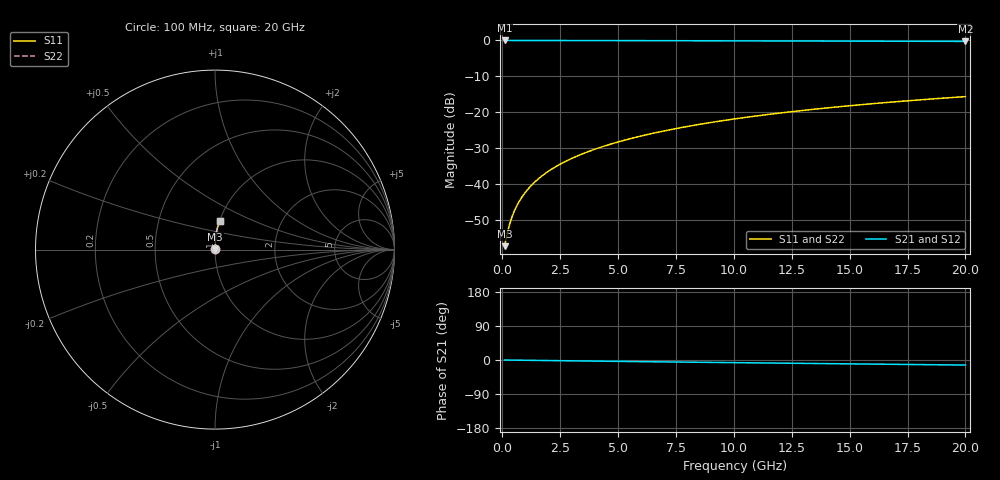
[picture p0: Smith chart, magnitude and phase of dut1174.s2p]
! Touchstone file exported from HFSS 2024.1.0
!  File:  C:/UserFiles/LocalFiles/RDL_TSV_Batchsim/temp_RDL_top_1174_1780049006.aedt
!  Generated:  06:05:35 PM May 29, 2026
!  Design:  RDL_top
!  Project:  temp_RDL_top_1174_1780049006
!  Setup:  Setup1
!  Solution:  Sweep
! Variables:
!  dtsv = 10.80580581um
!  hbump = 3um
!  htsv = 68.03um
!  ldown = 100um
!  lrdl = 137.05um
!  p = 40
!  p1 = 53.6um
!  rhole = 1um
!  t = 450um
!  tdown = 3.915915916um
!  trdl = 2.85um
!  wdown = 15.38538539um
!  wrdl = 21.03um
# GHz S MA R 50.000000
! Terminal data exported
! Port[1] = Box2_T1
! Port[2] = Box2_T2
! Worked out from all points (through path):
!   200 points, 100 MHz to 20 GHz, reference 50 ohm
!   highest |S21| = -0.01 dB at 100 MHz (marker M1); lowest = -0.3 dB at 20 GHz (marker M2)
!   group delay of S21, straight-line fit = 1.84 ps
!   lowest |S11| = -57.4 dB at 100 MHz (marker M3), VSWR 1.00, Z = 50.1 + j0.0797 ohm
!   |S11| at or under -10 dB: start of sweep to end of sweep
!   |S22| runs from -57.4 to -15.7 dB; largest |S21 - S12| = 3.4e-15
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0.1  0.00135 36.1  0.9989 -0.1  0.9989 -0.1  0.00135 36.1
! Gamma 0 0 0 0
! Port Impedance 50 0 50 0
0.2  0.001934 54.7  0.9989 -0.2  0.9989 -0.2  0.001934 54.7
0.3  0.002613 63.8  0.9988 -0.2  0.9988 -0.2  0.002613 63.8
0.4  0.003317 69.1  0.9988 -0.3  0.9988 -0.3  0.003317 69.1
0.5  0.004029 72.5  0.9987 -0.4  0.9987 -0.4  0.004029 72.5
0.6  0.004745 74.9  0.9987 -0.5  0.9987 -0.5  0.004745 74.9
0.8  0.006184 78.3  0.9986 -0.6  0.9986 -0.6  0.006184 78.3
1.1  0.008364 81.3  0.9984 -0.8  0.9984 -0.8  0.008364 81.3
1.5  0.0113 83.7  0.9982 -1.1  0.9982 -1.1  0.0113 83.7
1.8  0.01353 84.8  0.998 -1.3  0.998 -1.3  0.01353 84.8
2.1  0.01578 85.6  0.9978 -1.6  0.9978 -1.6  0.01578 85.7
2.7  0.02032 86.8  0.9973 -2.0  0.9973 -2.0  0.02032 86.8
3.5  0.02648 87.7  0.9964 -2.6  0.9964 -2.6  0.02648 87.7
4.2  0.03197 88.1  0.9955 -3.1  0.9955 -3.1  0.03197 88.1
5  0.03835 88.4  0.9944 -3.7  0.9944 -3.7  0.03835 88.4
5.9  0.04567 88.4  0.9931 -4.3  0.9931 -4.3  0.04567 88.4
6.8  0.0531 88.3  0.9917 -4.9  0.9917 -4.9  0.0531 88.3
8.4  0.06654 87.7  0.9891 -6.0  0.9891 -6.0  0.06654 87.7
10.1  0.08099 86.8  0.9863 -7.1  0.9863 -7.1  0.08099 86.8
13.4  0.1092 84.6  0.9808 -9.2  0.9808 -9.2  0.1092 84.6
16.7  0.1371 82.3  0.9753 -11.3  0.9753 -11.3  0.1371 82.3
20  0.1646 79.9  0.9694 -13.3  0.9694 -13.3  0.1646 79.9
